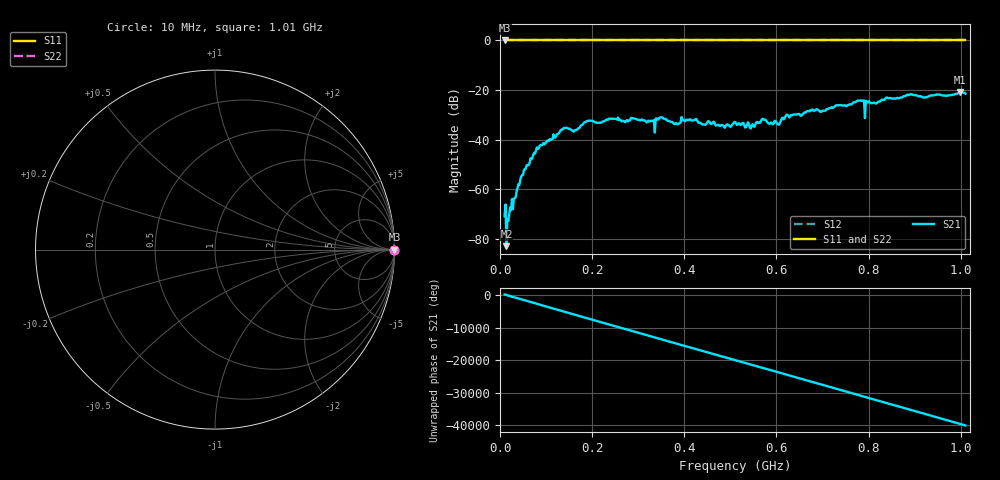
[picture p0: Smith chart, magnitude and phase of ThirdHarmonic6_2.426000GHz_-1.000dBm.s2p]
! 8/17/2025 4:10:21 AM
! C:\ANRITSUVNA\TEMP\TEMP.S2P
! CHANNEL.1
! TR.MEASUREMENT
! RAW.DATA
! RF.CORRECTION.OFF
! AVERAGING.OFF
! IF.BANDWIDTH: 5KHZ
! SWEEPTYPE:  FREQ.SWEEP(Linear)
! Reference Plane Port Info
! PORT:  PORT1  PORT2
! DISTANCE:  0  m  0  m
! TIME:  0  s  0  s
! PHASE.OFFSET:  0  deg.  0  deg.
! LOSS:  0  dB  0  dB
! REF.LOSS:  0  dB  0  dB
! REF.FREQ:  0  Hz  0  Hz
! Power Info
! POWER:  -20  dBm  -20  dBm
! EFF.POWER:  -20  dBm  -20  dBm
! SOURCE.ATTEN:  0  dB  0  dB
! TEST.ATTEN:  0  dB  0  dB
# GHZ S RI R 50.0
! FREQ.GHZ  S11RE  S11IM  S21RE  S21IM  S12RE  S12IM  S22RE  S22IM
!; PortSelection: Port_12
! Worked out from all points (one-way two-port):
!   501 points, 10 MHz to 1.01 GHz, reference 50 ohm
!   highest |S21| = -20.75 dB at 998 MHz (marker M1); lowest = -82.9 dB at 14 MHz (marker M2)
!   lowest |S11| = 0.0 dB at 10 MHz (marker M3)
!   |S11| at or under -10 dB: nowhere
!   |S22| runs from 0.0 to 0.0 dB; largest |S21 - S12| = 1.1
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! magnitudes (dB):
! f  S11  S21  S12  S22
! 10 MHz  0.0  -70.8  0.0  0.0
! 14 MHz  0.0  -82.9  0.0  0.0
! 18 MHz  0.0  -72.8  0.0  0.0
! 48 MHz  0.0  -54.3  0.0  0.0
! 84 MHz  0.0  -43.5  0.0  0.0
! 136 MHz  0.0  -35.9  0.0  0.0
! 162 MHz  0.0  -36.2  0.0  0.0
! 178 MHz  0.0  -34.0  0.0  0.0
! 242 MHz  0.0  -31.6  0.0  0.0
! 332 MHz  0.0  -32.5  0.0  0.0
! 344 MHz  0.0  -31.7  0.0  0.0
! 382 MHz  0.0  -33.3  0.0  0.0
! 410 MHz  0.0  -32.1  0.0  0.0
! 510 MHz  0.0  -32.8  0.0  0.0
! 548 MHz  0.0  -33.8  0.0  0.0
! 572 MHz  0.0  -31.8  0.0  0.0
! 604 MHz  0.0  -33.9  0.0  0.0
! 622 MHz  0.0  -30.0  0.0  0.0
! 678 MHz  0.0  -27.8  0.0  0.0
! 844 MHz  0.0  -23.3  0.0  0.0
! 998 MHz  0.0  -20.7  0.0  0.0
! 1.01 GHz  0.0  -21.4  0.0  0.0
